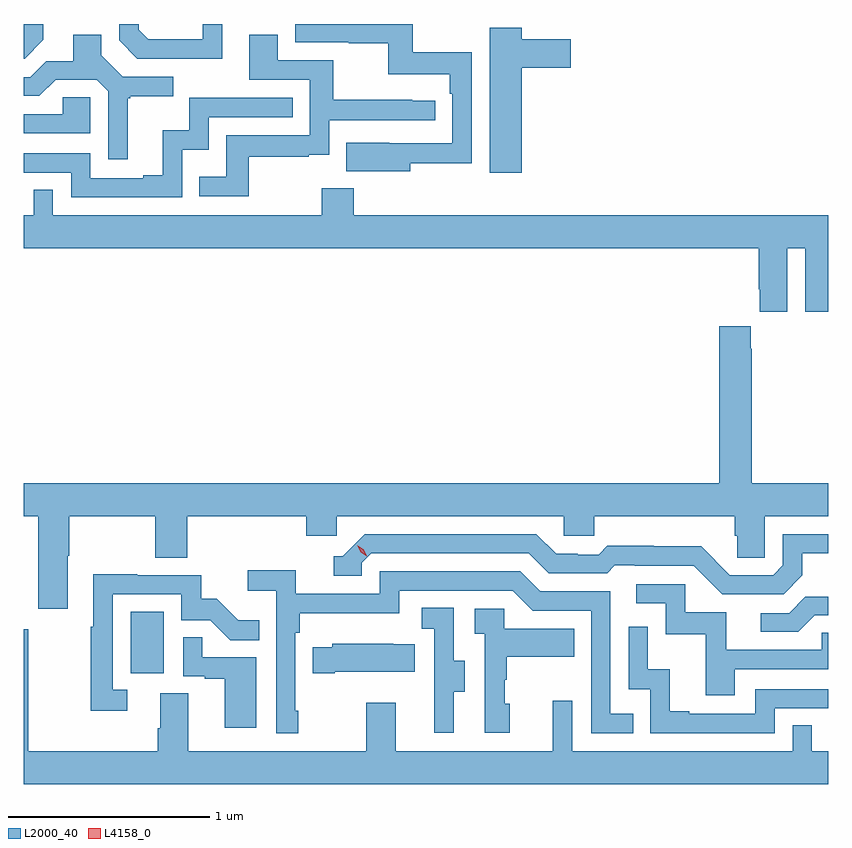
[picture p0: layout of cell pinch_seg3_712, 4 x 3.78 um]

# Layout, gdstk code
import gdstk
lib = gdstk.Library(unit=1e-6, precision=1e-09)
def R(c, l, rs):  # rectangles x0, y0, x1, y1
    for r in rs: c.add(gdstk.rectangle(r[:2], r[2:], *l))
def P(c, l, *ps):  # polygons
    for p in ps: c.add(gdstk.Polygon(p, *l))
L2000_40 = (2000, 40)
L4158_0 = (4158, 0)

pinch_seg3_712 = lib.new_cell('pinch_seg3_712')
R(pinch_seg3_712, L2000_40, [(1081.07,678.822,1081.234,679.129)])
P(pinch_seg3_712, L2000_40, [(1082.461,681.358),(1082.766,681.358),(1082.766,681.91),(1082.473,681.91),(1082.473,682.051),(1081.89,682.051),(1081.89,681.96),(1082.155,681.96),(1082.155,681.955),(1082.352,681.955),(1082.352,681.8),(1082.657,681.8),(1082.657,681.704),(1082.67,681.704),(1082.67,681.459),(1082.357,681.459),(1082.357,681.46),(1082.143,681.46),(1082.143,681.32),(1082.461,681.32)],
  [(1081.525,682.051),(1081.428,682.051),(1081.428,681.975),(1081.158,681.975),(1081.11,682.023),(1081.11,682.051),(1081.014,682.051),(1081.014,681.969),(1081.104,681.879),(1081.32,681.879),(1081.32,681.878),(1081.525,681.878)],
  [(1080.637,681.973),(1080.637,682.051),(1080.54,682.051),(1080.54,682.023),(1080.539,682.022),(1080.539,681.879),(1080.543,681.879)],
  [(1083.016,681.833),(1083.259,681.833),(1083.259,681.975),(1083.016,681.975),(1083.016,682.033),(1082.855,682.033),(1082.855,681.312),(1083.016,681.312)],
  [(1081.057,681.681),(1081.069,681.681),(1081.069,681.692),(1081.282,681.692),(1081.282,681.789),(1081.032,681.789),(1080.925,681.896),(1080.925,681.998),(1080.785,681.998),(1080.785,681.866),(1080.65,681.866),(1080.57,681.786),(1080.539,681.786),(1080.539,681.693),(1080.616,681.693),(1080.697,681.774),(1080.903,681.774),(1080.96,681.717),(1080.96,681.378),(1081.057,681.378)],
  [(1081.657,681.39),(1081.955,681.39),(1081.955,681.401),(1082.058,681.401),(1082.058,681.573),(1082.584,681.573),(1082.584,681.669),(1082.471,681.669),(1082.471,681.674),(1082.078,681.674),(1082.078,681.87),(1081.801,681.87),(1081.801,681.998),(1081.661,681.998),(1081.661,681.774),(1081.962,681.774),(1081.962,681.498),(1081.546,681.498),(1081.546,681.292),(1081.411,681.292),(1081.411,681.195),(1081.657,681.195)],
  [(1080.87,681.687),(1080.733,681.687),(1080.733,681.603),(1080.539,681.603),(1080.539,681.507),(1080.87,681.507)],
  [(1081.326,681.425),(1081.458,681.425),(1081.458,681.588),(1081.877,681.588),(1081.877,681.684),(1081.362,681.684),(1081.362,681.523),(1081.229,681.523),(1081.229,681.298),(1081.133,681.298),(1081.133,681.285),(1080.87,681.285),(1080.87,681.408),(1080.539,681.408),(1080.539,681.312),(1080.774,681.312),(1080.774,681.189),(1081.326,681.189)],
  [(1084.336,680.936),(1084.424,680.936),(1084.424,680.619),(1084.539,680.619),(1084.539,681.1),(1082.18,681.1),(1082.18,681.235),(1082.02,681.235),(1082.02,681.1),(1080.684,681.1),(1080.684,681.227),(1080.588,681.227),(1080.588,681.1),(1080.539,681.1),(1080.539,680.936),(1084.193,680.936),(1084.193,680.731),(1084.199,680.731),(1084.199,680.619),(1084.336,680.619)],
  [(1080.757,679.408),(1080.765,679.408),(1080.765,679.604),(1081.192,679.604),(1081.192,679.396),(1081.352,679.396),(1081.352,679.604),(1081.943,679.604),(1081.943,679.506),(1082.094,679.506),(1082.094,679.604),(1083.225,679.604),(1083.225,679.506),(1083.375,679.506),(1083.375,679.604),(1084.073,679.604),(1084.073,679.506),(1084.087,679.506),(1084.087,679.396),(1084.224,679.396),(1084.224,679.604),(1084.539,679.604),(1084.539,679.768),(1084.158,679.768),(1084.158,680.435),(1084.153,680.435),(1084.153,680.548),(1083.998,680.548),(1083.998,679.768),(1080.539,679.768),(1080.539,679.604),(1080.61,679.604),(1080.61,679.143),(1080.757,679.143)],
  [(1084.411,679.309),(1084.411,679.419),(1084.539,679.419),(1084.539,679.515),(1084.314,679.515),(1084.314,679.359),(1084.266,679.311),(1084.05,679.311),(1083.908,679.453),(1083.672,679.453),(1083.672,679.456),(1083.439,679.456),(1083.397,679.413),(1083.294,679.413),(1083.294,679.416),(1083.187,679.416),(1083.088,679.515),(1082.235,679.515),(1082.124,679.404),(1082.081,679.404),(1082.081,679.308),(1082.22,679.308),(1082.22,679.371),(1082.268,679.419),(1083.051,679.419),(1083.15,679.32),(1083.439,679.32),(1083.478,679.359),(1083.577,679.359),(1083.577,679.356),(1083.87,679.356),(1084.011,679.215),(1084.317,679.215)],
  [(1081.903,678.637),(1081.89,678.637),(1081.89,679.025),(1081.91,679.025),(1081.91,679.121),(1082.406,679.121),(1082.406,679.233),(1082.97,679.233),(1083.069,679.134),(1083.36,679.134),(1083.36,678.525),(1083.569,678.525),(1083.569,678.621),(1083.456,678.621),(1083.456,679.23),(1083.106,679.23),(1083.007,679.329),(1082.31,679.329),(1082.31,679.218),(1081.892,679.218),(1081.892,679.334),(1081.653,679.334),(1081.653,679.232),(1081.794,679.232),(1081.794,678.525),(1081.903,678.525)],
  [(1081.054,678.741),(1080.981,678.741),(1080.981,679.215),(1081.323,679.215),(1081.323,679.086),(1081.467,679.086),(1081.565,678.988),(1081.709,678.988),(1081.709,679.087),(1081.605,679.087),(1081.498,679.194),(1081.422,679.194),(1081.422,679.311),(1081.103,679.311),(1081.103,679.316),(1080.885,679.316),(1080.885,679.055),(1080.873,679.055),(1080.873,678.636),(1081.054,678.636)],
  [(1084.075,678.843),(1084.539,678.843),(1084.539,679.023),(1084.507,679.023),(1084.507,678.939),(1084.033,678.939),(1084.033,679.125),(1083.828,679.125),(1083.828,679.266),(1083.585,679.266),(1083.585,679.17),(1083.732,679.17),(1083.732,679.017),(1083.931,679.017),(1083.931,678.714),(1084.075,678.714)],
  [(1084.471,679.11),(1084.539,679.11),(1084.539,679.202),(1084.424,679.202),(1084.344,679.122),(1084.203,679.122),(1084.203,679.029),(1084.39,679.029)],
  [(1082.677,678.73),(1082.731,678.73),(1082.731,678.885),(1082.676,678.885),(1082.676,679.148),(1082.517,679.148),(1082.517,679.045),(1082.58,679.045),(1082.58,678.741),(1082.579,678.741),(1082.579,678.528),(1082.677,678.528)],
  [(1082.956,678.672),(1082.931,678.672),(1082.931,678.791),(1082.941,678.791),(1082.941,678.905),(1083.275,678.905),(1083.275,679.045),(1082.928,679.045),(1082.928,679.143),(1082.781,679.143),(1082.781,679.019),(1082.832,679.019),(1082.832,678.528),(1082.956,678.528)],
  [(1084.272,678.648),(1084.539,678.648),(1084.539,678.744),(1084.176,678.744),(1084.176,678.621),(1083.847,678.621),(1083.847,678.634),(1083.752,678.634),(1083.752,678.842),(1083.642,678.842),(1083.642,679.054),(1083.546,679.054),(1083.546,678.744),(1083.654,678.744),(1083.654,678.525),(1084.272,678.525)],
  [(1084.539,678.436),(1084.458,678.436),(1084.458,678.563),(1084.362,678.563),(1084.362,678.436),(1083.267,678.436),(1083.267,678.685),(1083.17,678.685),(1083.17,678.436),(1082.389,678.436),(1082.389,678.676),(1082.242,678.676),(1082.242,678.436),(1081.357,678.436),(1081.357,678.722),(1081.217,678.722),(1081.217,678.548),(1081.205,678.548),(1081.205,678.436),(1080.562,678.436),(1080.562,679.042),(1080.539,679.042),(1080.539,678.272),(1084.539,678.272)],
  [(1081.696,678.903),(1081.427,678.903),(1081.427,679.001),(1081.332,679.001),(1081.332,678.807),(1081.439,678.807),(1081.439,678.795),(1081.538,678.795),(1081.538,678.552),(1081.696,678.552)],
  [(1082.086,678.83),(1082.483,678.83),(1082.483,678.967),(1082.375,678.967),(1082.375,678.97),(1082.073,678.97),(1082.073,678.952),(1081.975,678.952),(1081.975,678.823),(1082.086,678.823)])
P(pinch_seg3_712, L4158_0, [(1082.244,679.405),(1082.214,679.425),(1082.198,679.458),(1082.198,679.458),(1082.198,679.458),(1082.229,679.438),(1082.244,679.405),(1082.244,679.405)])

lib.write_gds('pinch_seg3_712.gds')
